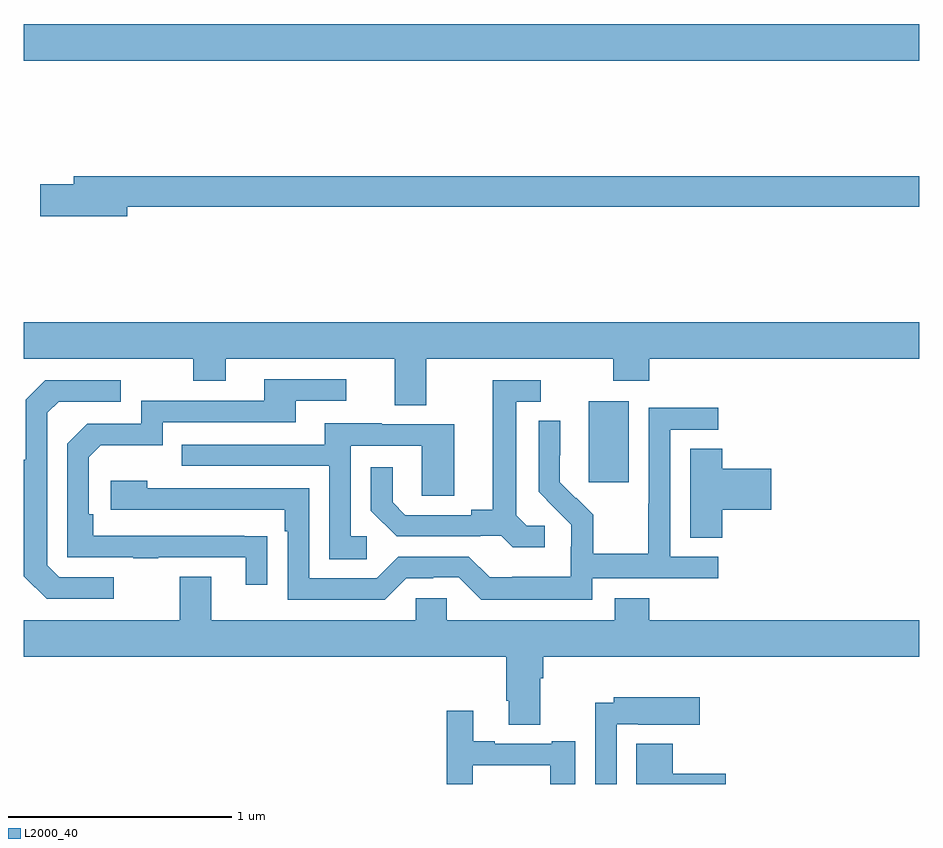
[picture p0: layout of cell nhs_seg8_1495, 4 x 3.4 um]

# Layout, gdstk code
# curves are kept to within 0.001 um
import gdstk
lib = gdstk.Library(unit=1e-6, precision=1e-09)
def R(c, l, rs):  # rectangles x0, y0, x1, y1
    for r in rs: c.add(gdstk.rectangle(r[:2], r[2:], *l))
def P(c, l, *ps):  # polygons
    for p in ps: c.add(gdstk.Polygon(p, *l))
L2000_40 = (2000, 40)

nhs_seg8_1495 = lib.new_cell('nhs_seg8_1495')
R(nhs_seg8_1495, L2000_40, [(207.524,1149.249,207.703,1149.61), (205,1151.132,209,1151.296)])
P(nhs_seg8_1495, L2000_40, [(205.462,1150.48),(209,1150.48),(209,1150.616),(205.223,1150.616),(205.223,1150.58),(205.074,1150.58),(205.074,1150.438),(205.462,1150.438)],
  [(206.797,1149.8),(207.634,1149.8),(207.634,1149.701),(207.794,1149.701),(207.794,1149.8),(209,1149.8),(209,1149.964),(205,1149.964),(205,1149.8),(205.756,1149.8),(205.756,1149.701),(205.903,1149.701),(205.903,1149.8),(206.657,1149.8),(206.657,1149.592),(206.797,1149.592)],
  [(206.087,1149.008),(205.31,1149.009),(205.31,1149.106),(205.29,1149.106),(205.29,1149.36),(205.343,1149.413),(205.62,1149.413),(205.62,1149.516),(206.215,1149.516),(206.215,1149.612),(206.44,1149.612),(206.44,1149.708),(206.075,1149.708),(206.075,1149.612),(205.524,1149.612),(205.524,1149.51),(205.284,1149.51),(205.194,1149.42),(205.194,1148.913),(205.489,1148.913),(205.489,1148.908),(205.601,1148.908),(205.601,1148.913),(205.991,1148.913),(205.991,1148.79),(206.087,1148.79)],
  [(205.402,1148.823),(205.158,1148.823),(205.104,1148.877),(205.104,1149.558),(205.155,1149.609),(205.432,1149.609),(205.432,1149.705),(205.095,1149.705),(205.008,1149.618),(205.008,1149.349),(205,1149.349),(205,1148.829),(205.101,1148.727),(205.402,1148.727)],
  [(207.328,1149.054),(207.246,1149.054),(207.199,1149.101),(207.199,1149.609),(207.31,1149.609),(207.31,1149.705),(207.095,1149.705),(207.095,1149.125),(206.999,1149.125),(206.999,1149.102),(206.704,1149.102),(206.647,1149.159),(206.647,1149.316),(206.55,1149.316),(206.55,1149.122),(206.666,1149.006),(207.038,1149.006),(207.038,1149.009),(207.132,1149.009),(207.184,1148.957),(207.328,1148.957)],
  [(207.54,1148.82),(208.102,1148.82),(208.102,1148.916),(207.888,1148.916),(207.888,1149.483),(208.102,1149.483),(208.102,1149.582),(207.792,1149.582),(207.792,1149.152),(207.79,1149.152),(207.79,1148.929),(207.545,1148.929),(207.545,1149.103),(207.468,1149.18),(207.465,1149.177),(207.395,1149.248),(207.396,1149.524),(207.3,1149.524),(207.3,1149.206),(207.446,1149.058),(207.446,1148.961),(207.444,1148.961),(207.444,1148.827),(207.181,1148.827),(207.181,1148.823),(207.081,1148.823),(206.988,1148.916),(206.673,1148.916),(206.577,1148.82),(206.274,1148.82),(206.274,1149.222),(205.55,1149.222),(205.55,1149.256),(205.389,1149.256),(205.389,1149.126),(206.165,1149.126),(206.165,1149.029),(206.178,1149.029),(206.178,1148.724),(206.613,1148.724),(206.709,1148.82),(206.828,1148.82),(206.828,1148.823),(206.943,1148.823),(207.043,1148.723),(207.54,1148.723)],
  [(206.533,1149.006),(206.46,1149.006),(206.46,1149.411),(206.778,1149.411),(206.778,1149.187),(206.923,1149.187),(206.923,1149.507),(206.599,1149.507),(206.599,1149.511),(206.345,1149.511),(206.345,1149.417),(205.705,1149.417),(205.705,1149.321),(206.364,1149.321),(206.364,1148.905),(206.533,1148.905)],
  [(208.121,1149.125),(208.339,1149.125),(208.339,1149.308),(208.121,1149.308),(208.121,1149.398),(207.977,1149.398),(207.977,1149.001),(208.121,1149.001)],
  [(207.307,1148.372),(207.32,1148.372),(207.32,1148.468),(209,1148.468),(209,1148.632),(207.794,1148.632),(207.794,1148.731),(207.641,1148.731),(207.641,1148.632),(206.889,1148.632),(206.889,1148.73),(206.751,1148.73),(206.751,1148.632),(205.837,1148.632),(205.837,1148.827),(205.697,1148.827),(205.697,1148.632),(205,1148.632),(205,1148.468),(207.155,1148.468),(207.155,1148.272),(207.167,1148.272),(207.167,1148.164),(207.307,1148.164)],
  [(207.648,1148.166),(207.745,1148.166),(207.745,1148.165),(208.021,1148.165),(208.021,1148.287),(207.636,1148.287),(207.636,1148.264),(207.552,1148.264),(207.552,1147.9),(207.648,1147.9)],
  [(207.006,1147.983),(207.353,1147.983),(207.353,1147.9),(207.463,1147.9),(207.463,1148.092),(207.359,1148.092),(207.359,1148.079),(207.103,1148.079),(207.103,1148.092),(207.007,1148.092),(207.007,1148.227),(206.89,1148.227),(206.89,1147.9),(207.006,1147.9)],
  [(208.135,1147.945),(207.899,1147.945),(207.899,1148.08),(207.737,1148.08),(207.737,1147.9),(208.135,1147.9)])

lib.write_gds('nhs_seg8_1495.gds')
